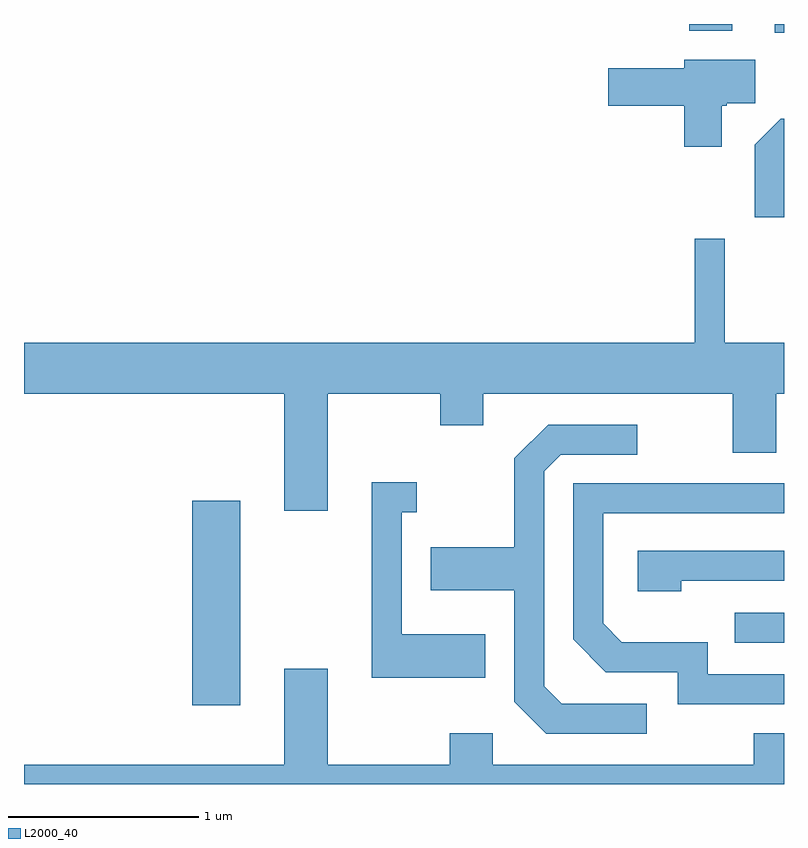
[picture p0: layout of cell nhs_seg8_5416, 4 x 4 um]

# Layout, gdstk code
import gdstk
lib = gdstk.Library(unit=1e-6, precision=1e-09)
def R(c, l, rs):  # rectangles x0, y0, x1, y1
    for r in rs: c.add(gdstk.rectangle(r[:2], r[2:], *l))
def P(c, l, *ps):  # polygons
    for p in ps: c.add(gdstk.Polygon(p, *l))
L2000_40 = (2000, 40)

nhs_seg8_5416 = lib.new_cell('nhs_seg8_5416')
R(nhs_seg8_5416, L2000_40, [(348.496,1854.756,348.749,1855.834), (351.353,1855.086,351.611,1855.244), (351.563,1858.296,351.611,1858.342), (351.111,1858.306,351.339,1858.342)])
P(nhs_seg8_5416, L2000_40, [(351.284,1857.911),(351.31,1857.911),(351.31,1857.926),(351.459,1857.926),(351.459,1858.154),(351.086,1858.154),(351.086,1858.109),(350.686,1858.109),(350.686,1857.911),(351.086,1857.911),(351.086,1857.696),(351.284,1857.696)],
  [(351.611,1857.844),(351.594,1857.844),(351.456,1857.707),(351.456,1857.326),(351.611,1857.326)],
  [(349.209,1856.396),(349.801,1856.396),(349.801,1856.231),(350.029,1856.231),(350.029,1856.396),(351.341,1856.396),(351.341,1856.086),(351.569,1856.086),(351.569,1856.396),(351.611,1856.396),(351.611,1856.664),(351.299,1856.664),(351.299,1857.213),(351.141,1857.213),(351.141,1856.664),(347.611,1856.664),(347.611,1856.396),(348.981,1856.396),(348.981,1855.781),(349.209,1855.781)],
  [(350.888,1854.764),(350.442,1854.764),(350.349,1854.857),(350.349,1855.989),(350.437,1856.076),(350.838,1856.076),(350.838,1856.234),(350.369,1856.234),(350.191,1856.057),(350.191,1855.589),(349.751,1855.589),(349.751,1855.361),(350.191,1855.361),(350.191,1854.774),(350.359,1854.606),(350.888,1854.606)],
  [(350.039,1855.129),(349.599,1855.129),(349.599,1855.771),(349.678,1855.771),(349.678,1855.929),(349.441,1855.929),(349.441,1854.901),(350.039,1854.901)],
  [(351.611,1854.919),(351.209,1854.919),(351.209,1855.089),(350.757,1855.089),(350.659,1855.187),(350.659,1855.766),(351.611,1855.766),(351.611,1855.924),(350.501,1855.924),(350.501,1855.104),(350.674,1854.931),(351.051,1854.931),(351.051,1854.761),(351.611,1854.761)],
  [(351.069,1855.411),(351.611,1855.411),(351.611,1855.569),(350.841,1855.569),(350.841,1855.356),(351.069,1855.356)],
  [(351.611,1854.609),(351.451,1854.609),(351.451,1854.444),(350.079,1854.444),(350.079,1854.609),(349.851,1854.609),(349.851,1854.444),(349.209,1854.444),(349.209,1854.949),(348.981,1854.949),(348.981,1854.444),(347.611,1854.444),(347.611,1854.342),(351.611,1854.342)])

lib.write_gds('nhs_seg8_5416.gds')
